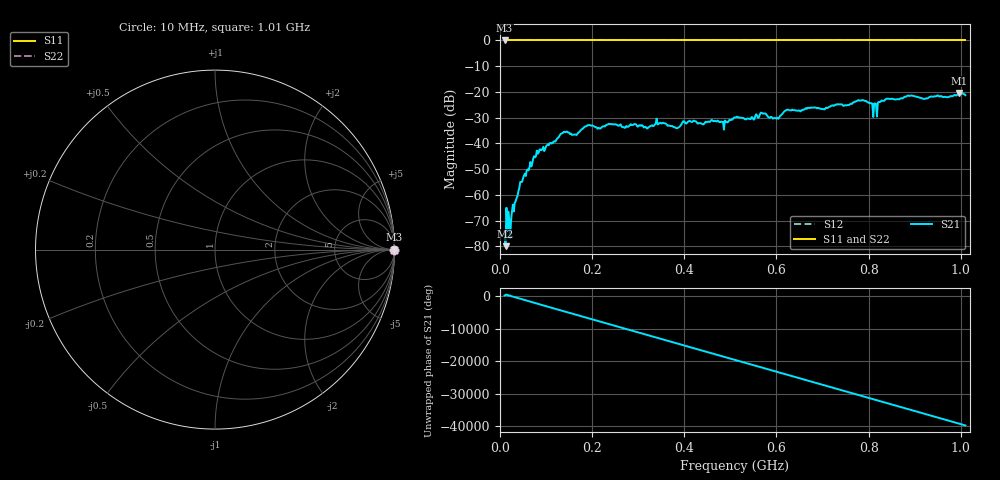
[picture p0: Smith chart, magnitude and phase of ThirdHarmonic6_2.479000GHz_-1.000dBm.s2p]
! 8/17/2025 4:36:56 AM
! C:\ANRITSUVNA\TEMP\TEMP.S2P
! CHANNEL.1
! TR.MEASUREMENT
! RAW.DATA
! RF.CORRECTION.OFF
! AVERAGING.OFF
! IF.BANDWIDTH: 5KHZ
! SWEEPTYPE:  FREQ.SWEEP(Linear)
! Reference Plane Port Info
! PORT:  PORT1  PORT2
! DISTANCE:  0  m  0  m
! TIME:  0  s  0  s
! PHASE.OFFSET:  0  deg.  0  deg.
! LOSS:  0  dB  0  dB
! REF.LOSS:  0  dB  0  dB
! REF.FREQ:  0  Hz  0  Hz
! Power Info
! POWER:  -20  dBm  -20  dBm
! EFF.POWER:  -20  dBm  -20  dBm
! SOURCE.ATTEN:  0  dB  0  dB
! TEST.ATTEN:  0  dB  0  dB
# GHZ S RI R 50.0
! FREQ.GHZ  S11RE  S11IM  S21RE  S21IM  S12RE  S12IM  S22RE  S22IM
!; PortSelection: Port_12
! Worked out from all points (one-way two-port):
!   501 points, 10 MHz to 1.01 GHz, reference 50 ohm
!   highest |S21| = -20.46 dB at 996 MHz (marker M1); lowest = -79.9 dB at 12 MHz (marker M2)
!   lowest |S11| = 0.0 dB at 10 MHz (marker M3)
!   |S11| at or under -10 dB: nowhere
!   |S22| runs from 0.0 to 0.0 dB; largest |S21 - S12| = 1.1
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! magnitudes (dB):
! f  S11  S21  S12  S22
! 10 MHz  0.0  -74.2  0.0  0.0
! 12 MHz  0.0  -79.9  0.0  0.0
! 26 MHz  0.0  -66.4  0.0  0.0
! 30 MHz  0.0  -66.5  0.0  0.0
! 48 MHz  0.0  -54.9  0.0  0.0
! 76 MHz  0.0  -45.4  0.0  0.0
! 136 MHz  0.0  -36.0  0.0  0.0
! 178 MHz  0.0  -34.5  0.0  0.0
! 344 MHz  0.0  -32.4  0.0  0.0
! 384 MHz  0.0  -34.1  0.0  0.0
! 398 MHz  0.0  -31.4  0.0  0.0
! 490 MHz  0.0  -31.4  0.0  0.0
! 510 MHz  0.0  -30.0  0.0  0.0
! 570 MHz  0.0  -28.4  0.0  0.0
! 600 MHz  0.0  -30.3  0.0  0.0
! 622 MHz  0.0  -27.0  0.0  0.0
! 678 MHz  0.0  -26.1  0.0  0.0
! 786 MHz  0.0  -23.2  0.0  0.0
! 814 MHz  0.0  -24.5  0.0  0.0
! 844 MHz  0.0  -22.6  0.0  0.0
! 996 MHz  0.0  -20.5  0.0  0.0
! 1.01 GHz  0.0  -21.3  0.0  0.0
